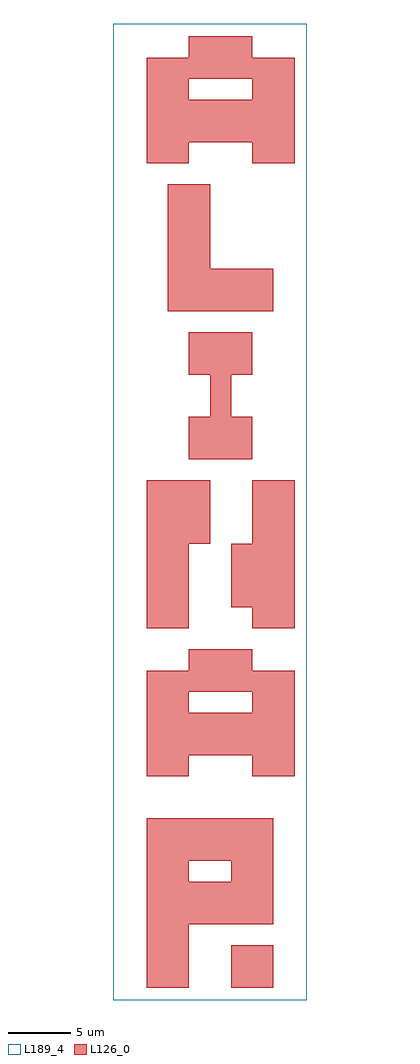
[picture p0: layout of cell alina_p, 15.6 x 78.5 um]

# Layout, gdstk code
import gdstk
lib = gdstk.Library(unit=1e-6, precision=1e-09)
def R(c, l, rs):  # rectangles x0, y0, x1, y1
    for r in rs: c.add(gdstk.rectangle(r[:2], r[2:], *l))
def P(c, l, *ps):  # polygons
    for p in ps: c.add(gdstk.Polygon(p, *l))
L126_0 = (126, 0)
L189_4 = (189, 4)

alina_p = lib.new_cell('alina_p')
R(alina_p, L126_0, [(9.5,1,12.9,4.4)])
P(alina_p, L126_0, [(12.9,55.4),(12.9,58.8),(7.8,58.8),(7.8,65.6),(4.4,65.6),(4.4,55.4)],
  [(6.1,46.9),(6.1,43.5),(11.2,43.5),(11.2,46.9),(9.5,46.9),(9.5,50.3),(11.2,50.3),(11.2,53.7),(6.1,53.7),(6.1,50.3),(7.8,50.3),(7.8,46.9)],
  [(6.1,29.9),(6.1,36.7),(7.8,36.7),(7.8,41.8),(2.7,41.8),(2.7,29.9)],
  [(9.5,36.7),(9.5,31.6),(11.2,31.6),(11.2,29.9),(14.6,29.9),(14.6,41.8),(11.2,41.8),(11.2,36.7)],
  [(11.2,28.2),(6.1,28.2),(6.1,26.5),(2.7,26.5),(2.7,23.1),(6.1,23.1),(6.1,24.8),(11.2,24.8),(11.2,23.1),(6.1,23.1),(2.7,23.1),(2.7,18),(6.1,18),(6.1,19.7),(11.2,19.7),(11.2,18),(14.6,18),(14.6,26.5),(11.2,26.5)],
  [(2.7,9.5),(6.1,9.5),(6.1,11.2),(9.5,11.2),(9.5,9.5),(6.1,9.5),(2.7,9.5),(2.7,1),(6.1,1),(6.1,6.1),(12.9,6.1),(12.9,14.6),(2.7,14.6)],
  [(6.1,67.3),(6.1,69),(11.2,69),(11.2,67.3),(14.6,67.3),(14.6,75.8),(11.2,75.8),(11.2,77.5),(6.1,77.5),(6.1,75.8),(2.7,75.8),(2.7,72.4),(6.1,72.4),(6.1,74.1),(11.2,74.1),(11.2,72.4),(6.1,72.4),(2.7,72.4),(2.7,67.3)])
R(alina_p, L189_4, [(0,0,15.6,78.5)])

lib.write_gds('alina_p.gds')
